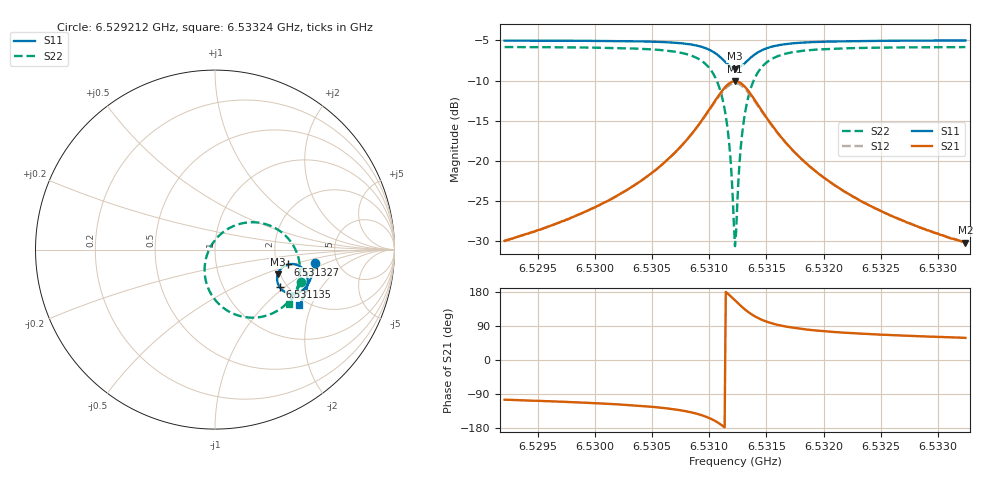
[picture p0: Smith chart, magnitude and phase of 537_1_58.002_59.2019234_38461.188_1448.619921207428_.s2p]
#  HZ  S  RI  R  50.00
! Rohde & Schwarz Vector Network Analyzer
! Rohde-Schwarz,ZNB20-2Port,1311601062101988,3.16
! Created: UTC 3/21/2024, 1:14:20 AM
! freq[Hz]  re:S11  im:S11  re:S21  im:S21  re:S12  im:S12  re:S22  im:S22
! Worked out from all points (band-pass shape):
!   401 points, 6.529212 GHz to 6.53324 GHz, reference 50 ohm
!   highest |S21| = -10.07 dB at 6.531226 GHz (marker M1); lowest = -30.2 dB at 6.53324 GHz (marker M2)
!   |S21| within 3 dB of the highest: 6.531026 GHz to 6.531428 GHz (402.3 kHz wide, 0.00616 % of centre)
!   lowest |S11| = -8.5 dB at 6.531226 GHz (marker M3), VSWR 2.20, Z = 97.1 - j31.2 ohm
!   |S11| at or under -10 dB: nowhere
!   |S22| runs from -30.6 to -5.8 dB; largest |S21 - S12| = 0.012
!   S11 on the Smith chart (normalised r, x): 6.529212 GHz: 3.38, -0.73; 6.531135 GHz: 1.82, -0.93; 6.531327 GHz: 2.31, -0.46; 6.53324 GHz: 1.82, -1.64
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6.529212e9  0.5559 -0.0742  -0.0082 -0.0306  -0.00882 -0.0306  0.4794 -0.1793
6.5298866e9  0.5442 -0.1304  -0.018 -0.0437  -0.0189 -0.0432  0.4474 -0.2419
6.5302692e9  0.5317 -0.166  -0.0308 -0.0574  -0.0324 -0.0565  0.4132 -0.2867
6.5305612e9  0.5144 -0.1978  -0.0529 -0.0745  -0.0549 -0.073  0.3638 -0.3301
6.5307928e9  0.4864 -0.2272  -0.0936 -0.0937  -0.0964 -0.0904  0.2816 -0.3692
6.530964e9  0.4416 -0.2454  -0.1631 -0.0991  -0.1654 -0.0925  0.1537 -0.3737
6.5310647e9  0.3959 -0.2389  -0.2338 -0.0712  -0.2326 -0.0616  0.0352 -0.3156
6.5311352e9  0.3608 -0.2099  -0.2851 -0.0107  -0.2789 -0.000842  -0.0416 -0.2056
6.5311755e9  0.3481 -0.1809  -0.3008 0.0434  -0.2913 0.0513  -0.0582 -0.1131
6.5312157e9  0.3475 -0.1466  -0.2951 0.1052  -0.2838 0.1096  -0.0385 -0.0129
6.5312258e9  0.3496 -0.1379  -0.2898 0.1204  -0.2785 0.1236  -0.0273 0.0109
6.5312359e9  0.3528 -0.1297  -0.2832 0.135  -0.2717 0.1372  -0.014 0.0335
6.531246e9  0.3567 -0.1217  -0.275 0.1486  -0.2637 0.15  0.00151 0.0546
6.5312661e9  0.3669 -0.1076  -0.2551 0.1731  -0.2446 0.1725  0.0379 0.0912
6.5312862e9  0.3794 -0.0962  -0.2317 0.1926  -0.2225 0.1905  0.079 0.1195
6.5313265e9  0.4075 -0.0829  -0.1815 0.2155  -0.1746 0.2121  0.1658 0.1492
6.531397e9  0.4519 -0.0835  -0.1041 0.2166  -0.1007 0.2131  0.2955 0.1375
6.5314977e9  0.4899 -0.1068  -0.0381 0.1837  -0.0364 0.1817  0.4023 0.0678
6.5316487e9  0.5116 -0.1439  0.00129 0.1353  0.00224 0.1345  0.4603 -0.0294
6.5319005e9  0.5162 -0.1878  0.0172 0.0879  0.0185 0.0876  0.4742 -0.1284
6.5325751e9  0.4969 -0.2582  0.0187 0.042  0.0195 0.0418  0.4452 -0.2448
6.5332397e9  0.4706 -0.3082  0.0162 0.0263  0.0167 0.0262  0.411 -0.3044
